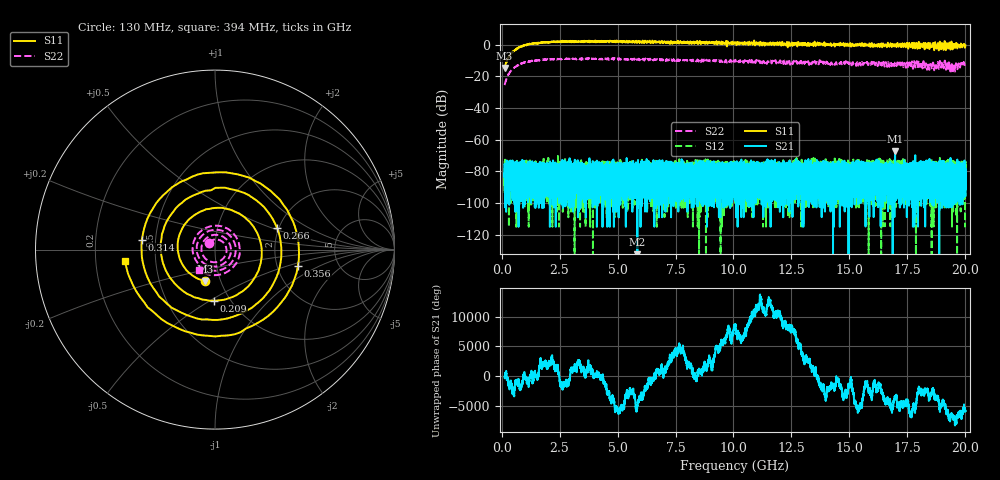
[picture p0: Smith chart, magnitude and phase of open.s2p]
!Created with skrf (http://scikit-rf.org).
# GHz S RI R 50.0
!freq ReS11 ImS11 ReS21 ImS21 ReS12 ImS12 ReS22 ImS22
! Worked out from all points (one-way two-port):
!   20013 points, 130 MHz to 20 GHz, reference 50 ohm
!   highest |S21| = -67.21 dB at 16.97 GHz (marker M1); lowest = -178.6 dB at 5.855 GHz (marker M2)
!   lowest |S11| = -14.7 dB at 130 MHz (marker M3), VSWR 1.45, Z = 42.1 - j15.3 ohm
!   |S11| at or under -10 dB: start of sweep to 239.7 MHz
!   |S22| runs from -25.5 to -8.5 dB; largest |S21 - S12| = 0.00046
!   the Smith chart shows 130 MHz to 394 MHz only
!   S11 on the Smith chart (normalised r, x): 130 MHz: 0.84, -0.31; 209 MHz: 0.84, -0.52; 266 MHz: 1.96, +0.54; 314 MHz: 0.42, +0.05; 356 MHz: 2.61, -0.62; 394 MHz: 0.33, -0.05
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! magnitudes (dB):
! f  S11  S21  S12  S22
! 130 MHz  -14.7  -81.5  -82.7  -25.5
! 209 MHz  -10.9  -88.5  -89.4  -21.7
! 266 MHz  -8.7  -81.4  -83.1  -19.7
! 314 MHz  -7.7  -85.2  -115.1  -18.6
! 356 MHz  -6.5  -76.4  -90.9  -17.4
! 394 MHz  -5.9  -76.3  -88.7  -16.8
! 753 MHz  -1.7  -85.4  -87.9  -12.4
! 1.298 GHz  0.7  -88.0  -85.8  -10.1
! 3.442 GHz  2.2  -80.9  -79.9  -9.3
! 5.855 GHz  1.4  -178.6  -93.5  -9.5
! 6.754 GHz  2.0  -77.6  -91.2  -9.6
! 10.06 GHz  1.4  -85.5  -89.7  -9.9
! 13.38 GHz  -0.1  -76.5  -86.1  -11.9
! 16.69 GHz  -0.6  -82.7  -78.2  -11.9
! 16.97 GHz  0.3  -67.2  -91.1  -11.3
! 18.05 GHz  -1.1  -85.1  -83.1  -14.0
! 18.5 GHz  0.1  -75.1  -90.3  -12.5
! 19.05 GHz  -2.6  -87.3  -76.8  -13.2
! 19.5 GHz  0.3  -76.8  -97.8  -11.9
! 19.73 GHz  -0.2  -78.5  -90.3  -12.3
! 19.92 GHz  -0.2  -84.3  -77.3  -11.3
! 20 GHz  -0.5  -82.0  -73.9  -12.9
